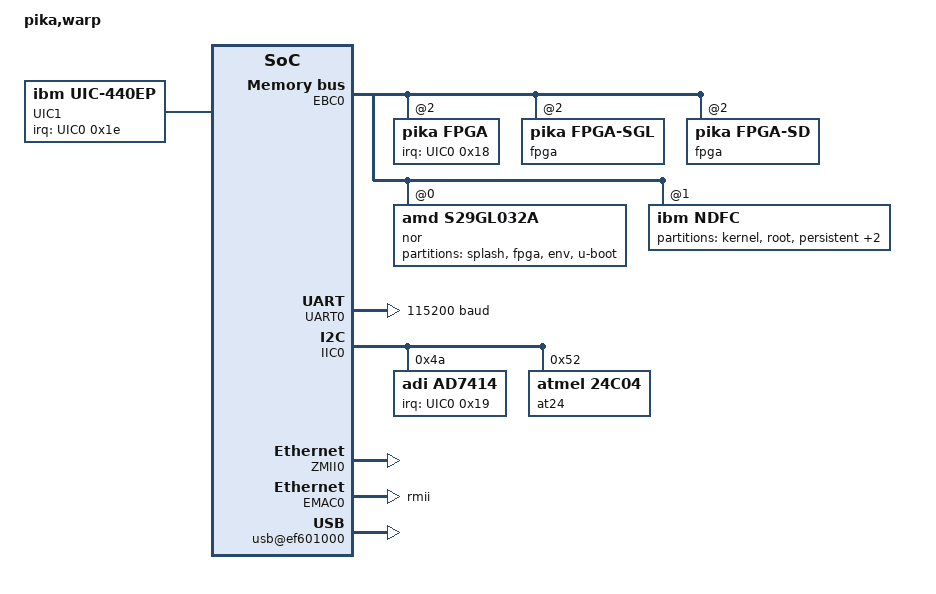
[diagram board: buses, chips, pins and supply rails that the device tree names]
/*
 * Device Tree Source for PIKA Warp
 *
 * Copyright (c) 2008-2009 PIKA Technologies
 *   Sean MacLennan <smaclennan@pikatech.com>
 *
 * This file is licensed under the terms of the GNU General Public
 * License version 2.  This program is licensed "as is" without
 * any warranty of any kind, whether express or implied.
 */

/dts-v1/;

/ {
	#address-cells = <2>;
	#size-cells = <1>;
	model = "pika,warp";
	compatible = "pika,warp";
	dcr-parent = <&{/cpus/cpu@0}>;

	aliases {
		ethernet0 = &EMAC0;
		serial0 = &UART0;
	};

	cpus {
		#address-cells = <1>;
		#size-cells = <0>;

		cpu@0 {
			device_type = "cpu";
			model = "PowerPC,440EP";
			reg = <0x00000000>;
			clock-frequency = <0>; /* Filled in by zImage */
			timebase-frequency = <0>; /* Filled in by zImage */
			i-cache-line-size = <32>;
			d-cache-line-size = <32>;
			i-cache-size = <32768>;
			d-cache-size = <32768>;
			dcr-controller;
			dcr-access-method = "native";
		};
	};

	memory {
		device_type = "memory";
		reg = <0x00000000 0x00000000 0x00000000>; /* Filled in by zImage */
	};

	UIC0: interrupt-controller0 {
		compatible = "ibm,uic-440ep","ibm,uic";
		interrupt-controller;
		cell-index = <0>;
		dcr-reg = <0x0c0 0x009>;
		#address-cells = <0>;
		#size-cells = <0>;
		#interrupt-cells = <2>;
	};

	UIC1: interrupt-controller1 {
		compatible = "ibm,uic-440ep","ibm,uic";
		interrupt-controller;
		cell-index = <1>;
		dcr-reg = <0x0d0 0x009>;
		#address-cells = <0>;
		#size-cells = <0>;
		#interrupt-cells = <2>;
		interrupts = <0x1e 0x4 0x1f 0x4>; /* cascade */
		interrupt-parent = <&UIC0>;
	};

	SDR0: sdr {
		compatible = "ibm,sdr-440ep";
		dcr-reg = <0x00e 0x002>;
	};

	CPR0: cpr {
		compatible = "ibm,cpr-440ep";
		dcr-reg = <0x00c 0x002>;
	};

	plb {
		compatible = "ibm,plb-440ep", "ibm,plb-440gp", "ibm,plb4";
		#address-cells = <2>;
		#size-cells = <1>;
		ranges;
		clock-frequency = <0>; /* Filled in by zImage */

		SDRAM0: sdram {
			compatible = "ibm,sdram-440ep", "ibm,sdram-405gp";
			dcr-reg = <0x010 0x002>;
		};

		DMA0: dma {
			compatible = "ibm,dma-440ep", "ibm,dma-440gp";
			dcr-reg = <0x100 0x027>;
		};

		MAL0: mcmal {
			compatible = "ibm,mcmal-440ep", "ibm,mcmal-440gp", "ibm,mcmal";
			dcr-reg = <0x180 0x062>;
			num-tx-chans = <4>;
			num-rx-chans = <2>;
			interrupt-parent = <&MAL0>;
			interrupts = <0x0 0x1 0x2 0x3 0x4>;
			#interrupt-cells = <1>;
			#address-cells = <0>;
			#size-cells = <0>;
			interrupt-map = </*TXEOB*/ 0x0 &UIC0 0xa 0x4
					/*RXEOB*/ 0x1 &UIC0 0xb 0x4
					/*SERR*/  0x2 &UIC1 0x0 0x4
					/*TXDE*/  0x3 &UIC1 0x1 0x4
					/*RXDE*/  0x4 &UIC1 0x2 0x4>;
		};

		POB0: opb {
		  	compatible = "ibm,opb-440ep", "ibm,opb-440gp", "ibm,opb";
			#address-cells = <1>;
			#size-cells = <1>;
		  	ranges = <0x00000000 0x00000000 0x00000000 0x80000000
			          0x80000000 0x00000000 0x80000000 0x80000000>;
		  	interrupt-parent = <&UIC1>;
		  	interrupts = <0x7 0x4>;
		  	clock-frequency = <0>; /* Filled in by zImage */

			EBC0: ebc {
				compatible = "ibm,ebc-440ep", "ibm,ebc-440gp", "ibm,ebc";
				dcr-reg = <0x012 0x002>;
				#address-cells = <2>;
				#size-cells = <1>;
				clock-frequency = <0>; /* Filled in by zImage */
				interrupts = <0x5 0x1>;
				interrupt-parent = <&UIC1>;

				fpga@2,0 {
					compatible = "pika,fpga";
			   		reg = <0x00000002 0x00000000 0x00001000>;
					interrupts = <0x18 0x8>;
					interrupt-parent = <&UIC0>;
				};

				fpga@2,2000 {
					compatible = "pika,fpga-sgl";
			   		reg = <0x00000002 0x00002000 0x00000200>;
				};

				fpga@2,4000 {
					compatible = "pika,fpga-sd";
					reg = <0x00000002 0x00004000 0x00004000>;
				};

				nor@0,0 {
					compatible = "amd,s29gl032a", "cfi-flash";
					bank-width = <2>;
					reg = <0x00000000 0x00000000 0x00400000>;
					#address-cells = <1>;
					#size-cells = <1>;

					partition@0 {
						label = "splash";
						reg = <0x00000000 0x00010000>;
					};
					partition@300000 {
						label = "fpga";
						reg = <0x0300000 0x00040000>;
					};
					partition@340000 {
						label = "env";
						reg = <0x0340000 0x00040000>;
					};
					partition@380000 {
						label = "u-boot";
						reg = <0x0380000 0x00080000>;
					};
				};

				ndfc@1,0 {
					compatible = "ibm,ndfc";
					reg = <0x00000001 0x00000000 0x00002000>;
					ccr = <0x00001000>;
					bank-settings = <0x80002222>;
					#address-cells = <1>;
					#size-cells = <1>;

					nand {
						#address-cells = <1>;
						#size-cells = <1>;

						partition@0 {
							label = "kernel";
							reg = <0x00000000 0x00200000>;
						};
						partition@200000 {
							label = "root";
							reg = <0x00200000 0x03E00000>;
						};
						partition@40000000 {
							label = "persistent";
							reg = <0x04000000 0x04000000>;
						};
						partition@80000000 {
							label = "persistent1";
							reg = <0x08000000 0x04000000>;
						};
						partition@C0000000 {
							label = "persistent2";
							reg = <0x0C000000 0x04000000>;
						};
					};
				};
			};

			UART0: serial@ef600300 {
		   		device_type = "serial";
		   		compatible = "ns16550";
		   		reg = <0xef600300 0x00000008>;
		   		virtual-reg = <0xef600300>;
		   		clock-frequency = <0>; /* Filled in by zImage */
		   		current-speed = <115200>;
		   		interrupt-parent = <&UIC0>;
		   		interrupts = <0x0 0x4>;
	   		};

			IIC0: i2c@ef600700 {
				compatible = "ibm,iic-440ep", "ibm,iic-440gp", "ibm,iic";
				reg = <0xef600700 0x00000014>;
				interrupt-parent = <&UIC0>;
				interrupts = <0x2 0x4>;
				#address-cells = <1>;
				#size-cells = <0>;

				ad7414@4a {
					compatible = "adi,ad7414";
					reg = <0x4a>;
					interrupts = <0x19 0x8>;
					interrupt-parent = <&UIC0>;
				};

				/* This will create 52 and 53 */
				at24@52 {
					compatible = "atmel,24c04";
					reg = <0x52>;
				};
			};

			GPIO0: gpio@ef600b00 {
				compatible = "ibm,ppc4xx-gpio";
				reg = <0xef600b00 0x00000048>;
				#gpio-cells = <2>;
				gpio-controller;
			};

			GPIO1: gpio@ef600c00 {
				compatible = "ibm,ppc4xx-gpio";
				reg = <0xef600c00 0x00000048>;
				#gpio-cells = <2>;
				gpio-controller;
			};

			power-leds {
				compatible = "warp-power-leds";
				green {
					gpios = <&GPIO1 0 0>;
				};
				red {
					gpios = <&GPIO1 1 0>;
				};
			};

			ZMII0: emac-zmii@ef600d00 {
				compatible = "ibm,zmii-440ep", "ibm,zmii-440gp", "ibm,zmii";
				reg = <0xef600d00 0x0000000c>;
			};

			EMAC0: ethernet@ef600e00 {
				device_type = "network";
				compatible = "ibm,emac-440ep", "ibm,emac-440gp", "ibm,emac";
				interrupt-parent = <&UIC1>;
				interrupts = <0x1c 0x4 0x1d 0x4>;
				reg = <0xef600e00 0x00000070>;
				local-mac-address = [000000000000];
				mal-device = <&MAL0>;
				mal-tx-channel = <0 1>;
				mal-rx-channel = <0>;
				cell-index = <0>;
				max-frame-size = <1500>;
				rx-fifo-size = <4096>;
				tx-fifo-size = <2048>;
				phy-mode = "rmii";
				phy-map = <0x00000000>;
				zmii-device = <&ZMII0>;
				zmii-channel = <0>;
			};

			usb@ef601000 {
				compatible = "ohci-be";
				reg = <0xef601000 0x00000080>;
				interrupts = <0x8 0x1 0x9 0x1>;
				interrupt-parent = < &UIC1 >;
			};
		};
	};

	chosen {
		stdout-path = "/plb/opb/serial@ef600300";
	};
};
